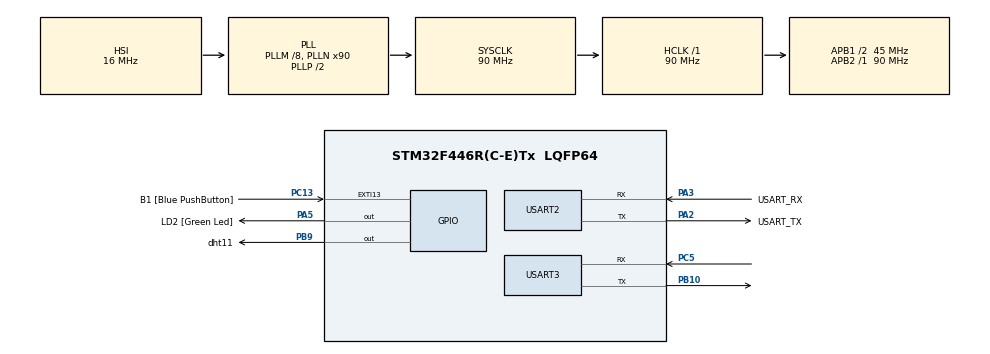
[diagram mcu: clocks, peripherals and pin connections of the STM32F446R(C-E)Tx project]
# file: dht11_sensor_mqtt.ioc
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Mcu.Family=STM32F4
Mcu.Name=STM32F446R(C-E)Tx
Mcu.Package=LQFP64
NVIC.PriorityGroup=NVIC_PRIORITYGROUP_0
PA13.GPIO_Label=TMS
PA13.Mode=Serial_Wire
PA13.Signal=SYS_JTMS-SWDIO
PA14.GPIO_Label=TCK
PA14.Mode=Serial_Wire
PA14.Signal=SYS_JTCK-SWCLK
PA2.GPIO_Label=USART_TX
PA2.Mode=Asynchronous
PA2.Signal=USART2_TX
PA3.GPIO_Label=USART_RX
PA3.Mode=Asynchronous
PA3.Signal=USART2_RX
PA5.GPIO_Label=LD2 [Green Led]
PA5.Signal=GPIO_Output
PB10.Mode=Asynchronous
PB10.Signal=USART3_TX
PB3.GPIO_Label=SWO
PB3.Signal=SYS_JTDO-SWO
PB9.GPIO_Label=dht11
PB9.Signal=GPIO_Output
PC13.GPIO_Label=B1 [Blue PushButton]
PC13.GPIO_ModeDefaultEXTI=GPIO_MODE_IT_FALLING
PC13.Signal=GPXTI13
PC14-OSC32_IN.Mode=LSE-External-Oscillator
PC14-OSC32_IN.Signal=RCC_OSC32_IN
PC15-OSC32_OUT.Mode=LSE-External-Oscillator
PC15-OSC32_OUT.Signal=RCC_OSC32_OUT
PC5.Mode=Asynchronous
PC5.Signal=USART3_RX
PH0-OSC_IN.Mode=HSE-External-Oscillator
PH0-OSC_IN.Signal=RCC_OSC_IN
PH1-OSC_OUT.Mode=HSE-External-Oscillator
PH1-OSC_OUT.Signal=RCC_OSC_OUT
ProjectManager.HeapSize=0x200
ProjectManager.StackSize=0x400
ProjectManager.TargetToolchain=STM32CubeIDE
RCC.48MHZClocksFreq_Value=84000000
RCC.AHBFreq_Value=90000000
RCC.APB1CLKDivider=RCC_HCLK_DIV2
RCC.APB1Freq_Value=45000000
RCC.APB1TimFreq_Value=90000000
RCC.APB2Freq_Value=90000000
RCC.APB2TimFreq_Value=90000000
RCC.CortexFreq_Value=90000000
RCC.FLatency-AdvancedSettings=FLASH_LATENCY_2
RCC.HCLKFreq_Value=90000000
RCC.HSE_VALUE=8000000
RCC.HSI_VALUE=16000000
RCC.PLLM=8
RCC.PLLN=90
RCC.SYSCLKFreq_VALUE=90000000
RCC.SYSCLKSource=RCC_SYSCLKSOURCE_PLLCLK
RCC.USBFreq_Value=90000000
RCC.VCOOutputFreq_Value=180000000
TIM2.Prescaler=90-1
USART2.VirtualMode=VM_ASYNC
USART3.VirtualMode=VM_ASYNC
VP_TIM2_VS_ClockSourceINT.Mode=Internal
board=NUCLEO-F446RE

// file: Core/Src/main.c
/* USER CODE BEGIN Header */
/**
  ******************************************************************************
  * @file           : main.c
  * @brief          : Main program body
  ******************************************************************************
  * @attention
  *
  * Copyright (c) 2025 STMicroelectronics.
  * All rights reserved.
  *
  * This software is licensed under terms that can be found in the LICENSE file
  * in the root directory of this software component.
  * If no LICENSE file comes with this software, it is provided AS-IS.
  *
  ******************************************************************************
  */
/* USER CODE END Header */
#include "main.h"

/* USER CODE BEGIN Includes */
#include <string.h>
#include <stdio.h>
/* USER CODE END Includes */

TIM_HandleTypeDef htim2;

UART_HandleTypeDef huart2;
UART_HandleTypeDef huart3;

/* USER CODE BEGIN PV */

//Global variables for sensor reading
uint16_t tempdht11, humiddht11;

/* USER CODE END PV */

void SystemClock_Config(void);
static void MX_GPIO_Init(void);
static void MX_USART2_UART_Init(void);
static void MX_USART3_UART_Init(void);
static void MX_TIM2_Init(void);

/* USER CODE BEGIN 0 */

//Read sensor DHT11 function
void dht11(uint16_t *temp, uint16_t *humid)
{
	uint16_t tempcalc, humidcalc;
	// First step for communication is to configure PB9 (named 'dht11') as output
	/*Configure GPIO pin : dht11_Pin */
	GPIO_InitTypeDef GPIO_InitStruct = {0};
	GPIO_InitStruct.Pin = dht11_Pin;
	GPIO_InitStruct.Mode = GPIO_MODE_OUTPUT_PP;
	GPIO_InitStruct.Pull = GPIO_NOPULL;
	GPIO_InitStruct.Speed = GPIO_SPEED_FREQ_VERY_HIGH;
	HAL_GPIO_Init(GPIOB, &GPIO_InitStruct);

	// Set output level to '0' - datasheet
	HAL_GPIO_WritePin(GPIOB, dht11_Pin, GPIO_PIN_RESET);

	// Wait >18ms - datasheet
	HAL_Delay(20);

	// Set output level to '1' - datasheet
	HAL_GPIO_WritePin(GPIOB, dht11_Pin, GPIO_PIN_SET);

	// Next step for communication is to configure PB9 (named 'dht11') as input
	/*Configure GPIO pin : dht11_Pin */
	GPIO_InitStruct.Pin = dht11_Pin;
	GPIO_InitStruct.Mode = GPIO_MODE_INPUT;
	GPIO_InitStruct.Pull = GPIO_NOPULL;
	GPIO_InitStruct.Speed = GPIO_SPEED_FREQ_VERY_HIGH;
	HAL_GPIO_Init(GPIOB, &GPIO_InitStruct);

	// Reading
	/*Set timer 2 to 0*/
	__HAL_TIM_SET_COUNTER(&htim2, 0);

	/*Aux variables*/
	uint16_t read[2];
	uint16_t data[42];
	uint8_t bits[40];
	uint16_t temph = 0;
	uint16_t humidh = 0;

	/*Detect time during High*/
	for(int i = 0; i < 42; i++)
	{
		while(HAL_GPIO_ReadPin(GPIOB, dht11_Pin) == GPIO_PIN_RESET);
		read[0] = __HAL_TIM_GET_COUNTER(&htim2);
		while(HAL_GPIO_ReadPin(GPIOB, dht11_Pin) == GPIO_PIN_SET);
		read[1] = __HAL_TIM_GET_COUNTER(&htim2);
		data[i] = read[1] - read[0];
	}

	/*Set bit reading according to times from datasheet*/
	for(int i = 0; i < 40; i++)
	{
		if((data[i+2] >= 20) && (data[i+2] <= 32))
		{
			bits[i] = 0;
		}
		else if((data[i+2] >= 65) && (data[i+2] <= 75))
		{
			bits[i] = 1;
		}
	}

	printf(bits);

	/*Calculate temp and humd according to the read bits*/
	for (int i = 0; i < 8; i++)
	{
		temph += bits[i+16] << (7-i);
		humidh += bits[i] << (7-i);
	}

	/*Set values to respective variables*/
	tempcalc = temph;
	humidcalc = humidh;
	*temp = tempcalc;
	*humid = humidcalc;

	/**/

}

/* USER CODE END 0 */

int main(void)
{

  /* USER CODE BEGIN 1 */
  uint8_t buf[50];

  /* USER CODE END 1 */

  /* MCU Configuration--------------------------------------------------------*/

  /* Reset of all peripherals, Initializes the Flash interface and the Systick. */
  HAL_Init();

  /* Configure the system clock */
  SystemClock_Config();

  /* Initialize all configured peripherals */
  MX_GPIO_Init();
  MX_USART2_UART_Init();
  MX_USART3_UART_Init();
  MX_TIM2_Init();
  /* USER CODE BEGIN 2 */
  HAL_TIM_Base_Start(&htim2);

  /* USER CODE END 2 */

  /* Infinite loop */
  /* USER CODE BEGIN WHILE */
  while (1)
  {
	dht11(&tempdht11, &humiddht11);
	HAL_Delay(500);
	sprintf((char*)buf, "Temperatura: %d °C\nHumidade: %d %%\r\n", tempdht11, humiddht11);
	HAL_UART_Transmit(&huart3, buf, strlen((char*)buf), HAL_MAX_DELAY);
	HAL_Delay(500);
    /* USER CODE END WHILE */

  }
}

void SystemClock_Config(void)
{
  RCC_OscInitTypeDef RCC_OscInitStruct = {0};
  RCC_ClkInitTypeDef RCC_ClkInitStruct = {0};

  /** Configure the main internal regulator output voltage
  */
  __HAL_RCC_PWR_CLK_ENABLE();
  __HAL_PWR_VOLTAGESCALING_CONFIG(PWR_REGULATOR_VOLTAGE_SCALE3);

  /** Initializes the RCC Oscillators according to the specified parameters
  * in the RCC_OscInitTypeDef structure.
  */
  RCC_OscInitStruct.OscillatorType = RCC_OSCILLATORTYPE_HSI;
  RCC_OscInitStruct.HSIState = RCC_HSI_ON;
  RCC_OscInitStruct.HSICalibrationValue = RCC_HSICALIBRATION_DEFAULT;
  RCC_OscInitStruct.PLL.PLLState = RCC_PLL_ON;
  RCC_OscInitStruct.PLL.PLLSource = RCC_PLLSOURCE_HSI;
  RCC_OscInitStruct.PLL.PLLM = 8;
  RCC_OscInitStruct.PLL.PLLN = 90;
  RCC_OscInitStruct.PLL.PLLP = RCC_PLLP_DIV2;
  RCC_OscInitStruct.PLL.PLLQ = 2;
  RCC_OscInitStruct.PLL.PLLR = 2;
  if (HAL_RCC_OscConfig(&RCC_OscInitStruct) != HAL_OK)
  {
    Error_Handler();
  }

  /** Initializes the CPU, AHB and APB buses clocks
  */
  RCC_ClkInitStruct.ClockType = RCC_CLOCKTYPE_HCLK|RCC_CLOCKTYPE_SYSCLK
                              |RCC_CLOCKTYPE_PCLK1|RCC_CLOCKTYPE_PCLK2;
  RCC_ClkInitStruct.SYSCLKSource = RCC_SYSCLKSOURCE_PLLCLK;
  RCC_ClkInitStruct.AHBCLKDivider = RCC_SYSCLK_DIV1;
  RCC_ClkInitStruct.APB1CLKDivider = RCC_HCLK_DIV2;
  RCC_ClkInitStruct.APB2CLKDivider = RCC_HCLK_DIV1;

  if (HAL_RCC_ClockConfig(&RCC_ClkInitStruct, FLASH_LATENCY_2) != HAL_OK)
  {
    Error_Handler();
  }
}

static void MX_TIM2_Init(void)
{

  TIM_ClockConfigTypeDef sClockSourceConfig = {0};
  TIM_MasterConfigTypeDef sMasterConfig = {0};

  htim2.Instance = TIM2;
  htim2.Init.Prescaler = 90-1;
  htim2.Init.CounterMode = TIM_COUNTERMODE_UP;
  htim2.Init.Period = 4294967295;
  htim2.Init.ClockDivision = TIM_CLOCKDIVISION_DIV1;
  htim2.Init.AutoReloadPreload = TIM_AUTORELOAD_PRELOAD_DISABLE;
  if (HAL_TIM_Base_Init(&htim2) != HAL_OK)
  {
    Error_Handler();
  }
  sClockSourceConfig.ClockSource = TIM_CLOCKSOURCE_INTERNAL;
  if (HAL_TIM_ConfigClockSource(&htim2, &sClockSourceConfig) != HAL_OK)
  {
    Error_Handler();
  }
  sMasterConfig.MasterOutputTrigger = TIM_TRGO_RESET;
  sMasterConfig.MasterSlaveMode = TIM_MASTERSLAVEMODE_DISABLE;
  if (HAL_TIMEx_MasterConfigSynchronization(&htim2, &sMasterConfig) != HAL_OK)
  {
    Error_Handler();
  }

}

static void MX_USART2_UART_Init(void)
{

  huart2.Instance = USART2;
  huart2.Init.BaudRate = 115200;
  huart2.Init.WordLength = UART_WORDLENGTH_8B;
  huart2.Init.StopBits = UART_STOPBITS_1;
  huart2.Init.Parity = UART_PARITY_NONE;
  huart2.Init.Mode = UART_MODE_TX_RX;
  huart2.Init.HwFlowCtl = UART_HWCONTROL_NONE;
  huart2.Init.OverSampling = UART_OVERSAMPLING_16;
  if (HAL_UART_Init(&huart2) != HAL_OK)
  {
    Error_Handler();
  }

}

static void MX_USART3_UART_Init(void)
{

  huart3.Instance = USART3;
  huart3.Init.BaudRate = 115200;
  huart3.Init.WordLength = UART_WORDLENGTH_8B;
  huart3.Init.StopBits = UART_STOPBITS_1;
  huart3.Init.Parity = UART_PARITY_NONE;
  huart3.Init.Mode = UART_MODE_TX_RX;
  huart3.Init.HwFlowCtl = UART_HWCONTROL_NONE;
  huart3.Init.OverSampling = UART_OVERSAMPLING_16;
  if (HAL_UART_Init(&huart3) != HAL_OK)
  {
    Error_Handler();
  }

}

static void MX_GPIO_Init(void)
{
  GPIO_InitTypeDef GPIO_InitStruct = {0};

  /* GPIO Ports Clock Enable */
  __HAL_RCC_GPIOC_CLK_ENABLE();
  __HAL_RCC_GPIOH_CLK_ENABLE();
  __HAL_RCC_GPIOA_CLK_ENABLE();
  __HAL_RCC_GPIOB_CLK_ENABLE();

  /*Configure GPIO pin Output Level */
  HAL_GPIO_WritePin(LD2_GPIO_Port, LD2_Pin, GPIO_PIN_RESET);

  /*Configure GPIO pin Output Level */
  HAL_GPIO_WritePin(dht11_GPIO_Port, dht11_Pin, GPIO_PIN_RESET);

  /*Configure GPIO pin : B1_Pin */
  GPIO_InitStruct.Pin = B1_Pin;
  GPIO_InitStruct.Mode = GPIO_MODE_IT_FALLING;
  GPIO_InitStruct.Pull = GPIO_NOPULL;
  HAL_GPIO_Init(B1_GPIO_Port, &GPIO_InitStruct);

  /*Configure GPIO pin : LD2_Pin */
  GPIO_InitStruct.Pin = LD2_Pin;
  GPIO_InitStruct.Mode = GPIO_MODE_OUTPUT_PP;
  GPIO_InitStruct.Pull = GPIO_NOPULL;
  GPIO_InitStruct.Speed = GPIO_SPEED_FREQ_LOW;
  HAL_GPIO_Init(LD2_GPIO_Port, &GPIO_InitStruct);

  /*Configure GPIO pin : dht11_Pin */
  GPIO_InitStruct.Pin = dht11_Pin;
  GPIO_InitStruct.Mode = GPIO_MODE_OUTPUT_PP;
  GPIO_InitStruct.Pull = GPIO_NOPULL;
  GPIO_InitStruct.Speed = GPIO_SPEED_FREQ_LOW;
  HAL_GPIO_Init(dht11_GPIO_Port, &GPIO_InitStruct);

}

void Error_Handler(void)
{
  __disable_irq();
  while (1)
  {
  }
}
